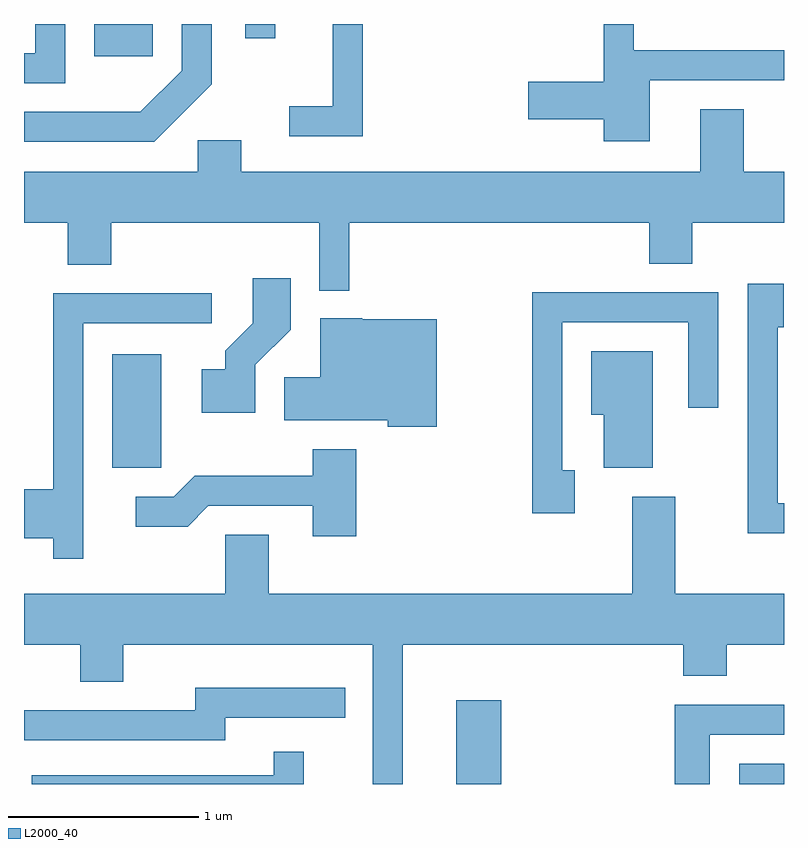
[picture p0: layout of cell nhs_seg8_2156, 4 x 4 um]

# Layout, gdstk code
import gdstk
lib = gdstk.Library(unit=1e-6, precision=1e-09)
def R(c, l, rs):  # rectangles x0, y0, x1, y1
    for r in rs: c.add(gdstk.rectangle(r[:2], r[2:], *l))
def P(c, l, *ps):  # polygons
    for p in ps: c.add(gdstk.Polygon(p, *l))
L2000_40 = (2000, 40)

nhs_seg8_2156 = lib.new_cell('nhs_seg8_2156')
R(nhs_seg8_2156, L2000_40, [(251.886,1842.342,252.124,1842.784), (253.376,1842.342,253.611,1842.449), (250.076,1844.006,250.334,1844.604), (249.981,1846.171,250.289,1846.342), (250.776,1846.268,250.934,1846.342)])
P(nhs_seg8_2156, L2000_40, [(251.394,1846.342),(251.236,1846.342),(251.236,1845.909),(251.008,1845.909),(251.008,1845.751),(251.394,1845.751)],
  [(250.599,1846.024),(250.599,1846.342),(250.441,1846.342),(250.441,1846.097),(250.224,1845.879),(249.611,1845.879),(249.611,1845.721),(250.297,1845.721)],
  [(249.829,1846.342),(249.671,1846.342),(249.671,1846.189),(249.611,1846.189),(249.611,1846.031),(249.829,1846.031)],
  [(252.904,1846.046),(253.611,1846.046),(253.611,1846.204),(252.819,1846.204),(252.819,1846.342),(252.661,1846.342),(252.661,1846.039),(252.266,1846.039),(252.266,1845.841),(252.661,1845.841),(252.661,1845.726),(252.904,1845.726)],
  [(251.324,1845.296),(252.901,1845.296),(252.901,1845.081),(253.129,1845.081),(253.129,1845.296),(253.611,1845.296),(253.611,1845.564),(253.399,1845.564),(253.399,1845.894),(253.171,1845.894),(253.171,1845.564),(250.754,1845.564),(250.754,1845.729),(250.526,1845.729),(250.526,1845.564),(249.611,1845.564),(249.611,1845.296),(249.841,1845.296),(249.841,1845.076),(250.069,1845.076),(250.069,1845.296),(251.166,1845.296),(251.166,1844.938),(251.324,1844.938)],
  [(250.829,1844.549),(251.014,1844.734),(251.014,1845.004),(250.816,1845.004),(250.816,1844.767),(250.671,1844.622),(250.671,1844.524),(250.546,1844.524),(250.546,1844.296),(250.829,1844.296)],
  [(253.611,1843.819),(253.579,1843.819),(253.579,1844.746),(253.609,1844.746),(253.609,1844.974),(253.421,1844.974),(253.421,1843.661),(253.611,1843.661)],
  [(252.509,1843.994),(252.444,1843.994),(252.444,1844.771),(253.106,1844.771),(253.106,1844.323),(253.264,1844.323),(253.264,1844.929),(252.286,1844.929),(252.286,1843.766),(252.509,1843.766)],
  [(249.924,1844.766),(250.598,1844.766),(250.598,1844.924),(249.766,1844.924),(249.766,1843.894),(249.611,1843.894),(249.611,1843.636),(249.766,1843.636),(249.766,1843.528),(249.924,1843.528)],
  [(251.784,1844.789),(251.39,1844.789),(251.39,1844.794),(251.171,1844.794),(251.171,1844.484),(250.981,1844.484),(250.981,1844.256),(251.526,1844.256),(251.526,1844.221),(251.784,1844.221)],
  [(252.919,1844.619),(252.596,1844.619),(252.596,1844.286),(252.661,1844.286),(252.661,1844.006),(252.919,1844.006)],
  [(251.359,1844.104),(251.131,1844.104),(251.131,1843.964),(250.509,1843.964),(250.399,1843.854),(250.198,1843.854),(250.198,1843.696),(250.472,1843.696),(250.582,1843.806),(251.131,1843.806),(251.131,1843.646),(251.359,1843.646)],
  [(251.604,1843.076),(253.081,1843.076),(253.081,1842.911),(253.309,1842.911),(253.309,1843.076),(253.611,1843.076),(253.611,1843.344),(253.039,1843.344),(253.039,1843.854),(252.811,1843.854),(252.811,1843.344),(250.899,1843.344),(250.899,1843.654),(250.671,1843.654),(250.671,1843.344),(249.611,1843.344),(249.611,1843.076),(249.906,1843.076),(249.906,1842.881),(250.134,1842.881),(250.134,1843.076),(251.446,1843.076),(251.446,1842.342),(251.604,1842.342)],
  [(250.669,1842.691),(251.303,1842.691),(251.303,1842.849),(250.511,1842.849),(250.511,1842.729),(249.611,1842.729),(249.611,1842.571),(250.669,1842.571)],
  [(253.219,1842.601),(253.611,1842.601),(253.611,1842.759),(253.036,1842.759),(253.036,1842.342),(253.219,1842.342)],
  [(251.084,1842.513),(250.926,1842.513),(250.926,1842.389),(249.653,1842.389),(249.653,1842.342),(251.084,1842.342)])

lib.write_gds('nhs_seg8_2156.gds')
